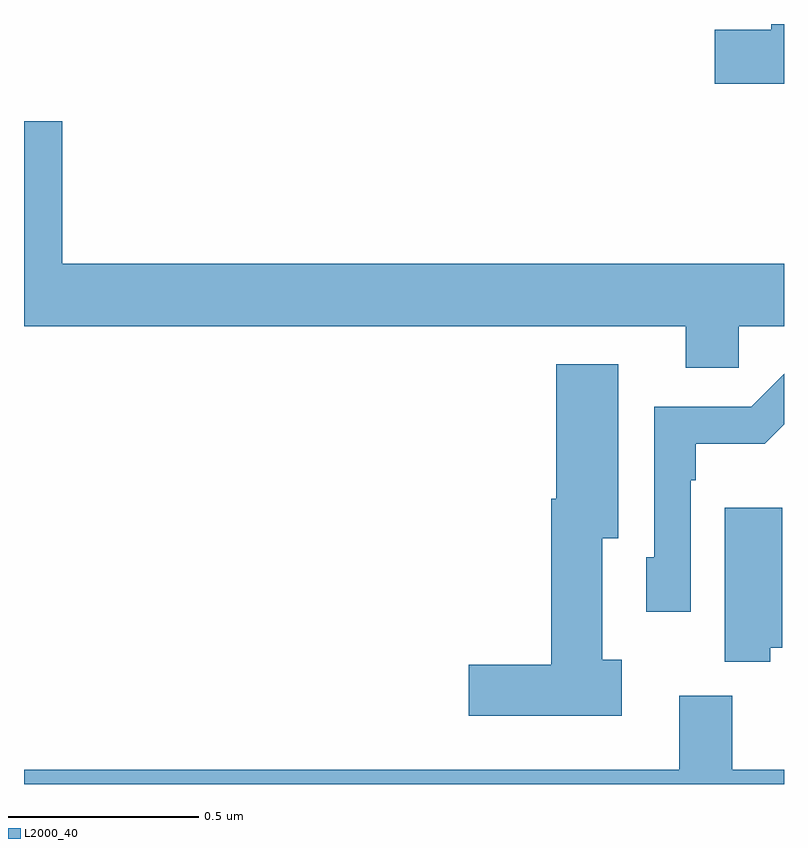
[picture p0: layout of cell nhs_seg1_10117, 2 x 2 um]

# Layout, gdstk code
import gdstk
lib = gdstk.Library(unit=1e-6, precision=1e-09)
def P(c, l, *ps):  # polygons
    for p in ps: c.add(gdstk.Polygon(p, *l))
L2000_40 = (2000, 40)

nhs_seg1_10117 = lib.new_cell('nhs_seg1_10117')
P(nhs_seg1_10117, L2000_40, [(239,547.199),(238.967,547.199),(238.967,547.184),(238.818,547.184),(238.818,547.042),(239,547.042)],
  [(238.881,546.404),(239,546.404),(239,546.568),(237.1,546.568),(237.1,546.943),(237,546.943),(237,546.404),(238.742,546.404),(238.742,546.294),(238.881,546.294)],
  [(238.573,545.526),(238.522,545.526),(238.522,545.846),(238.564,545.846),(238.564,546.304),(238.4,546.304),(238.4,545.95),(238.388,545.95),(238.388,545.513),(238.17,545.513),(238.17,545.378),(238.573,545.378)],
  [(238.755,545.999),(238.768,545.999),(238.768,546.095),(238.949,546.095),(239,546.146),(239,546.278),(238.914,546.192),(238.659,546.192),(238.659,545.796),(238.638,545.796),(238.638,545.652),(238.755,545.652)],
  [(238.964,545.558),(238.996,545.558),(238.996,545.926),(238.844,545.926),(238.844,545.521),(238.964,545.521)],
  [(239,545.236),(238.864,545.236),(238.864,545.431),(238.724,545.431),(238.724,545.236),(237,545.236),(237,545.199),(239,545.199)])

lib.write_gds('nhs_seg1_10117.gds')
